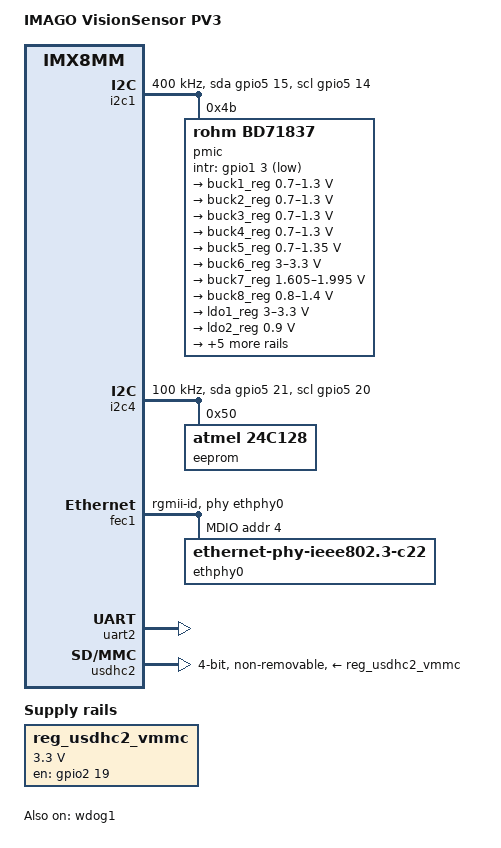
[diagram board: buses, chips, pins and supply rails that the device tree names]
/*
 * Copyright (C) Imago Technologies GmbH - https://www.imago-technologies.com/
 *
 * This program is free software; you can redistribute it and/or modify
 * it under the terms of the GNU General Public License version 2 as
 * published by the Free Software Foundation.
 */

/dts-v1/;

#include "fsl-imx8mm.dtsi"

/ {
	model = "IMAGO VisionSensor PV3";
	compatible = "imago,visionsensor-pv3", "fsl,imx8mm";

	chosen {
		bootargs = "console=ttymxc1,115200 earlycon=ec_imx6q,0x30890000,115200";
		stdout-patch = &uart2;
	};

	firmware {
		optee {
			compatible = "linaro,optee-tz";
			method = "smc";
		};
	};

	reg_usdhc2_vmmc: regulator-usdhc2 {
		compatible = "regulator-fixed";
		regulator-name = "VSD_3V3";
		regulator-min-microvolt = <3300000>;
		regulator-max-microvolt = <3300000>;
		gpio = <&gpio2 19 GPIO_ACTIVE_HIGH>;
		enable-active-high;
		startup-delay-us = <100>;
		u-boot,off-on-delay-us = <12000>;
	};

	/delete-node/ tmu@30260000;
	/delete-node/ thermal-zones;

	aliases {
		mmc0 = &usdhc2;
	};
};

&iomuxc {
	pinctrl-names = "default";
	pinctrl-0 = <&pinctrl_hog_1>;

	imx8mm-evk {
		pinctrl_hog_1: hoggrp-1 {
			fsl,pins = <
				MX8MM_IOMUXC_GPIO1_IO08_GPIO1_IO8		0x19
			>;
		};

		pinctrl_fec1: fec1grp {
			fsl,pins = <
				MX8MM_IOMUXC_ENET_MDC_ENET1_MDC		0x3
				MX8MM_IOMUXC_ENET_MDIO_ENET1_MDIO	0x3
				MX8MM_IOMUXC_ENET_TD3_ENET1_RGMII_TD3	0x1f
				MX8MM_IOMUXC_ENET_TD2_ENET1_RGMII_TD2	0x1f
				MX8MM_IOMUXC_ENET_TD1_ENET1_RGMII_TD1	0x1f
				MX8MM_IOMUXC_ENET_TD0_ENET1_RGMII_TD0	0x1f
				MX8MM_IOMUXC_ENET_RD3_ENET1_RGMII_RD3	0x91
				MX8MM_IOMUXC_ENET_RD2_ENET1_RGMII_RD2	0x91
				MX8MM_IOMUXC_ENET_RD1_ENET1_RGMII_RD1	0x91
				MX8MM_IOMUXC_ENET_RD0_ENET1_RGMII_RD0	0x91
				MX8MM_IOMUXC_ENET_TXC_ENET1_RGMII_TXC	0x1f
				MX8MM_IOMUXC_ENET_RXC_ENET1_RGMII_RXC	0x91
				MX8MM_IOMUXC_ENET_RX_CTL_ENET1_RGMII_RX_CTL	0x91
				MX8MM_IOMUXC_ENET_TX_CTL_ENET1_RGMII_TX_CTL	0x1f
				MX8MM_IOMUXC_SAI2_RXC_GPIO4_IO22	0x19
			>;
		};

/*		pinctrl_flexspi0: flexspi0grp {
			fsl,pins = <
				MX8MM_IOMUXC_NAND_ALE_QSPI_A_SCLK 0x1c4
				MX8MM_IOMUXC_NAND_CE0_B_QSPI_A_SS0_B 0x84

				MX8MM_IOMUXC_NAND_DATA00_QSPI_A_DATA0 0x84
				MX8MM_IOMUXC_NAND_DATA01_QSPI_A_DATA1 0x84
				MX8MM_IOMUXC_NAND_DATA02_QSPI_A_DATA2 0x84
				MX8MM_IOMUXC_NAND_DATA03_QSPI_A_DATA3 0x84
			>;
		};*/

		pinctrl_i2c1: i2c1grp {
			fsl,pins = <
				MX8MM_IOMUXC_I2C1_SCL_I2C1_SCL			0x400001c3
				MX8MM_IOMUXC_I2C1_SDA_I2C1_SDA			0x400001c3
			>;
		};

		pinctrl_i2c4: i2c4grp {
			fsl,pins = <
				MX8MM_IOMUXC_I2C4_SCL_I2C4_SCL			0x400001c3
				MX8MM_IOMUXC_I2C4_SDA_I2C4_SDA			0x400001c3
			>;
		};

		pinctrl_i2c1_gpio: i2c1grp-gpio {
			fsl,pins = <
				MX8MM_IOMUXC_I2C1_SCL_GPIO5_IO14        		0x1c3
				MX8MM_IOMUXC_I2C1_SDA_GPIO5_IO15        	0x1c3
			>;
		};

		pinctrl_i2c4_gpio: i2c4grp-gpio {
			fsl,pins = <
				MX8MM_IOMUXC_I2C4_SCL_GPIO5_IO20        		0x1c3
				MX8MM_IOMUXC_I2C4_SDA_GPIO5_IO21        	0x1c3
			>;
		};

		pinctrl_pmic: pmicirq {
			fsl,pins = <
				MX8MM_IOMUXC_GPIO1_IO03_GPIO1_IO3		0x41
			>;
		};

		pinctrl_uart2: uart1grp {
			fsl,pins = <
				MX8MM_IOMUXC_UART2_RXD_UART2_DCE_RX	0x49
				MX8MM_IOMUXC_UART2_TXD_UART2_DCE_TX	0x49
			>;
		};

		pinctrl_usdhc2_gpio: usdhc2grpgpio {
			fsl,pins = <
				MX8MM_IOMUXC_SD2_RESET_B_GPIO2_IO19	0x41
			>;
		};

		pinctrl_usdhc2: usdhc2grp {
			fsl,pins = <
				MX8MM_IOMUXC_SD2_CLK_USDHC2_CLK		0x190
				MX8MM_IOMUXC_SD2_CMD_USDHC2_CMD		0x1d0
				MX8MM_IOMUXC_SD2_DATA0_USDHC2_DATA0	0x1d0
				MX8MM_IOMUXC_SD2_DATA1_USDHC2_DATA1	0x1d0
				MX8MM_IOMUXC_SD2_DATA2_USDHC2_DATA2	0x1d0
				MX8MM_IOMUXC_SD2_DATA3_USDHC2_DATA3	0x1d0
				MX8MM_IOMUXC_GPIO1_IO04_USDHC2_VSELECT	0x1d0
			>;
		};

		pinctrl_usdhc2_100mhz: usdhc2grp100mhz {
			fsl,pins = <
				MX8MM_IOMUXC_SD2_CLK_USDHC2_CLK		0x194
				MX8MM_IOMUXC_SD2_CMD_USDHC2_CMD		0x1d4
				MX8MM_IOMUXC_SD2_DATA0_USDHC2_DATA0	0x1d4
				MX8MM_IOMUXC_SD2_DATA1_USDHC2_DATA1	0x1d4
				MX8MM_IOMUXC_SD2_DATA2_USDHC2_DATA2	0x1d4
				MX8MM_IOMUXC_SD2_DATA3_USDHC2_DATA3	0x1d4
				MX8MM_IOMUXC_GPIO1_IO04_USDHC2_VSELECT	0x1d0
			>;
		};

		pinctrl_usdhc2_200mhz: usdhc2grp200mhz {
			fsl,pins = <
				MX8MM_IOMUXC_SD2_CLK_USDHC2_CLK		0x196
				MX8MM_IOMUXC_SD2_CMD_USDHC2_CMD		0x1d6
				MX8MM_IOMUXC_SD2_DATA0_USDHC2_DATA0	0x1d6
				MX8MM_IOMUXC_SD2_DATA1_USDHC2_DATA1	0x1d6
				MX8MM_IOMUXC_SD2_DATA2_USDHC2_DATA2	0x1d6
				MX8MM_IOMUXC_SD2_DATA3_USDHC2_DATA3	0x1d6
				MX8MM_IOMUXC_GPIO1_IO04_USDHC2_VSELECT	0x1d0
			>;
		};

		pinctrl_wdog: wdoggrp {
			fsl,pins = <
				MX8MM_IOMUXC_GPIO1_IO02_WDOG1_WDOG_B		0xc6
			>;
		};
	};
};

&i2c1 {
	clock-frequency = <400000>;
	pinctrl-names = "default", "gpio";
	pinctrl-0 = <&pinctrl_i2c1>;
	pinctrl-1 = <&pinctrl_i2c1_gpio>;
	scl-gpios = <&gpio5 14 GPIO_ACTIVE_HIGH>;
	sda-gpios = <&gpio5 15 GPIO_ACTIVE_HIGH>;
	status = "okay";

	pmic: bd71837@4b {
		reg = <0x4b>;
		compatible = "rohm,bd71837";
		/* PMIC BD71837 PMIC_nINT GPIO1_IO3 */
		pinctrl-0 = <&pinctrl_pmic>;
		gpio_intr = <&gpio1 3 GPIO_ACTIVE_LOW>;

		gpo {
			rohm,drv = <0x0C>;	/* 0b0000_1100 all gpos with cmos output mode */
		};

		regulators {
			#address-cells = <1>;
			#size-cells = <0>;

			bd71837,pmic-buck2-uses-i2c-dvs;
			bd71837,pmic-buck2-dvs-voltage = <1000000>, <900000>, <0>; /* VDD_ARM: Run-Idle */

			buck1_reg: regulator@0 {
				reg = <0>;
				regulator-compatible = "buck1";
				regulator-min-microvolt = <700000>;
				regulator-max-microvolt = <1300000>;
				regulator-boot-on;
				regulator-always-on;
				regulator-ramp-delay = <1250>;
			};

			buck2_reg: regulator@1 {
				reg = <1>;
				regulator-compatible = "buck2";
				regulator-min-microvolt = <700000>;
				regulator-max-microvolt = <1300000>;
				regulator-boot-on;
				regulator-always-on;
				regulator-ramp-delay = <1250>;
			};

			buck3_reg: regulator@2 {
				reg = <2>;
				regulator-compatible = "buck3";
				regulator-min-microvolt = <700000>;
				regulator-max-microvolt = <1300000>;
			};

			buck4_reg: regulator@3 {
				reg = <3>;
				regulator-compatible = "buck4";
				regulator-min-microvolt = <700000>;
				regulator-max-microvolt = <1300000>;
			};

			buck5_reg: regulator@4 {
				reg = <4>;
				regulator-compatible = "buck5";
				regulator-min-microvolt = <700000>;
				regulator-max-microvolt = <1350000>;
				regulator-boot-on;
				regulator-always-on;
			};

			buck6_reg: regulator@5 {
				reg = <5>;
				regulator-compatible = "buck6";
				regulator-min-microvolt = <3000000>;
				regulator-max-microvolt = <3300000>;
				regulator-boot-on;
				regulator-always-on;
			};

			buck7_reg: regulator@6 {
				reg = <6>;
				regulator-compatible = "buck7";
				regulator-min-microvolt = <1605000>;
				regulator-max-microvolt = <1995000>;
				regulator-boot-on;
				regulator-always-on;
			};

			buck8_reg: regulator@7 {
				reg = <7>;
				regulator-compatible = "buck8";
				regulator-min-microvolt = <800000>;
				regulator-max-microvolt = <1400000>;
				regulator-boot-on;
				regulator-always-on;
			};

			ldo1_reg: regulator@8 {
				reg = <8>;
				regulator-compatible = "ldo1";
				regulator-min-microvolt = <3000000>;
				regulator-max-microvolt = <3300000>;
				regulator-boot-on;
				regulator-always-on;
			};

			ldo2_reg: regulator@9 {
				reg = <9>;
				regulator-compatible = "ldo2";
				regulator-min-microvolt = <900000>;
				regulator-max-microvolt = <900000>;
				regulator-boot-on;
				regulator-always-on;
			};

			ldo3_reg: regulator@10 {
				reg = <10>;
				regulator-compatible = "ldo3";
				regulator-min-microvolt = <1800000>;
				regulator-max-microvolt = <3300000>;
				regulator-boot-on;
				regulator-always-on;
			};

			ldo4_reg: regulator@11 {
				reg = <11>;
				regulator-compatible = "ldo4";
				regulator-min-microvolt = <900000>;
				regulator-max-microvolt = <1800000>;
				regulator-boot-on;
				regulator-always-on;
			};

			ldo5_reg: regulator@12 {
				reg = <12>;
				regulator-compatible = "ldo5";
				regulator-min-microvolt = <1800000>;
				regulator-max-microvolt = <3300000>;
			};

			ldo6_reg: regulator@13 {
				reg = <13>;
				regulator-compatible = "ldo6";
				regulator-min-microvolt = <900000>;
				regulator-max-microvolt = <1800000>;
				regulator-boot-on;
				regulator-always-on;
			};

			ldo7_reg: regulator@14 {
				reg = <14>;
				regulator-compatible = "ldo7";
				regulator-min-microvolt = <1800000>;
				regulator-max-microvolt = <3300000>;
			};
		};
	};
};

&i2c4 {
	clock-frequency = <100000>;
	pinctrl-names = "default", "gpio";
	pinctrl-0 = <&pinctrl_i2c4>;
	pinctrl-1 = <&pinctrl_i2c4_gpio>;
	scl-gpios = <&gpio5 20 GPIO_ACTIVE_HIGH>;
	sda-gpios = <&gpio5 21 GPIO_ACTIVE_HIGH>;
	status = "okay";

	eeprom@50 {
		compatible = "atmel,24c128";
		reg = <0x50>;
		pagesize = <64>;
		u-boot,i2c-offset-len = <2>;
	};
};

/*&flexspi0 {
	pinctrl-names = "default";
	pinctrl-0 = <&pinctrl_flexspi0>;
	status = "okay";

	flash0: n25q256a@0 {
		reg = <0>;
		#address-cells = <1>;
		#size-cells = <1>;
		compatible = "spi-flash";
		spi-max-frequency = <29000000>;
		spi-nor,ddr-quad-read-dummy = <8>;
	};
};*/

&fec1 {
	pinctrl-names = "default";
	pinctrl-0 = <&pinctrl_fec1>;
	phy-mode = "rgmii-id";
	phy-handle = <&ethphy0>;
	fsl,magic-packet;
	status = "okay";

	mdio {
		#address-cells = <1>;
		#size-cells = <0>;

		ethphy0: ethernet-phy@4 {
			compatible = "ethernet-phy-ieee802.3-c22";
			reg = <4>;
			at803x,led-act-blind-workaround;
			at803x,eee-okay;
			at803x,vddio-1p8v;
		};
	};
};

&uart2 { /* console */
	pinctrl-names = "default";
	pinctrl-0 = <&pinctrl_uart2>;
	status = "okay";
};

&usdhc2 {
	pinctrl-names = "default", "state_100mhz", "state_200mhz";
	pinctrl-0 = <&pinctrl_usdhc2>, <&pinctrl_usdhc2_gpio>;
	pinctrl-1 = <&pinctrl_usdhc2_100mhz>, <&pinctrl_usdhc2_gpio>;
	pinctrl-2 = <&pinctrl_usdhc2_200mhz>, <&pinctrl_usdhc2_gpio>;
	bus-width = <4>;
	non-removable;
	vmmc-supply = <&reg_usdhc2_vmmc>;
	status = "okay";
};

&wdog1 {
	pinctrl-names = "default";
	pinctrl-0 = <&pinctrl_wdog>;
	fsl,ext-reset-output;
	status = "okay";
};

&A53_0 {
	arm-supply = <&buck2_reg>;
};

